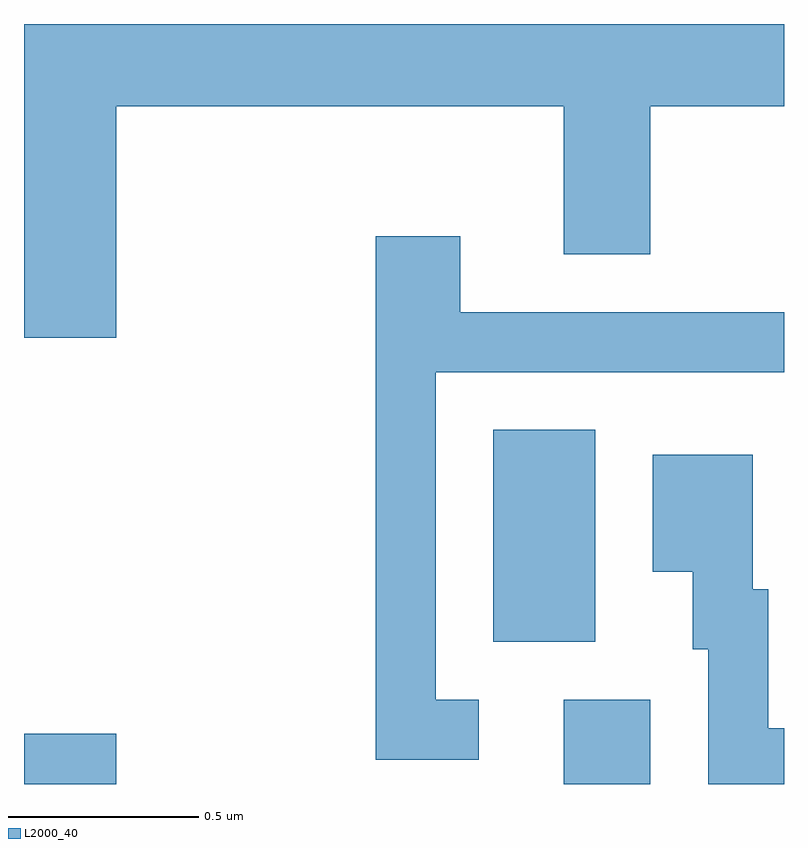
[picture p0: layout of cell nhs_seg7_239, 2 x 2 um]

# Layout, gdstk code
import gdstk
lib = gdstk.Library(unit=1e-6, precision=1e-09)
def R(c, l, rs):  # rectangles x0, y0, x1, y1
    for r in rs: c.add(gdstk.rectangle(r[:2], r[2:], *l))
def P(c, l, *ps):  # polygons
    for p in ps: c.add(gdstk.Polygon(p, *l))
L2000_40 = (2000, 40)

nhs_seg7_239 = lib.new_cell('nhs_seg7_239')
R(nhs_seg7_239, L2000_40, [(186.611,1770.252,186.854,1770.384), (188.031,1770.252,188.259,1770.474), (187.846,1770.626,188.114,1771.184)])
P(nhs_seg7_239, L2000_40, [(186.854,1772.036),(188.031,1772.036),(188.031,1771.646),(188.259,1771.646),(188.259,1772.036),(188.611,1772.036),(188.611,1772.252),(186.611,1772.252),(186.611,1771.426),(186.854,1771.426)],
  [(187.808,1770.474),(187.694,1770.474),(187.694,1771.336),(188.611,1771.336),(188.611,1771.494),(187.759,1771.494),(187.759,1771.694),(187.536,1771.694),(187.536,1770.316),(187.808,1770.316)],
  [(188.611,1770.399),(188.569,1770.399),(188.569,1770.764),(188.529,1770.764),(188.529,1771.119),(188.266,1771.119),(188.266,1770.811),(188.371,1770.811),(188.371,1770.606),(188.411,1770.606),(188.411,1770.252),(188.611,1770.252)])

lib.write_gds('nhs_seg7_239.gds')
